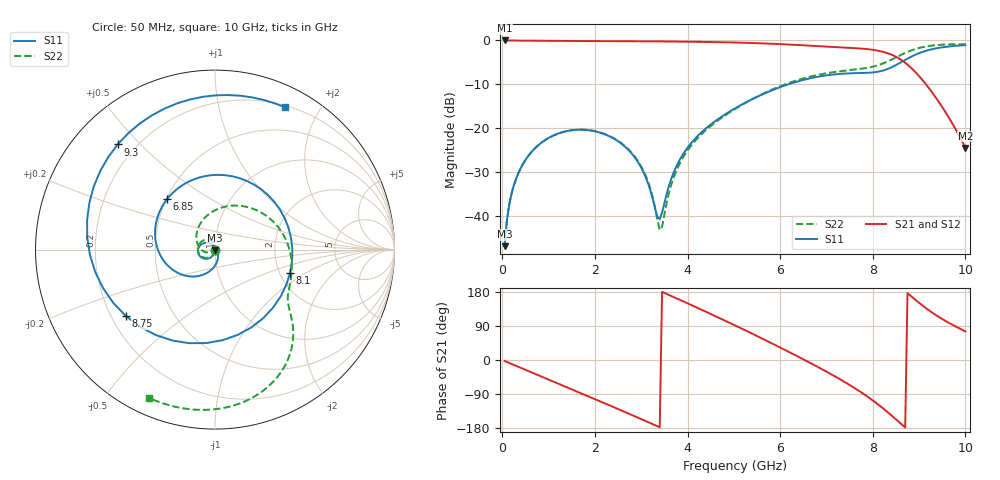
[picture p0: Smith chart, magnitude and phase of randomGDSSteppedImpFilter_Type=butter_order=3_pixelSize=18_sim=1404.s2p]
! freq	dB(S11)	phase(S11)	dB(S12)	phase(S12)
!  dB(S21)	phase(S21)	dB(S22)	phase(S22)
!S-par simulation data
#  GHz  S  DB  R 50
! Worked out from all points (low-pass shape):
!   200 points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, 50 MHz to 10 GHz, reference 50 ohm
!   highest |S21| = -0.01 dB at 50 MHz (marker M1); lowest = -24.6 dB at 10 GHz (marker M2)
!   |S21| within 3 dB of the highest: start of sweep to 8.344 GHz
!   lowest |S11| = -47.0 dB at 50 MHz (marker M3), VSWR 1.01, Z = 50 - j0.447 ohm
!   |S11| at or under -10 dB: start of sweep to 6.183 GHz
!   |S22| runs from -47.0 to -0.9 dB; largest |S21 - S12| = 0
!   S11 on the Smith chart (normalised r, x): 50 MHz: 1.00, -0.01; 6.85 GHz: 0.50, +0.33; 8.1 GHz: 2.28, -0.72; 8.75 GHz: 0.26, -0.31; 9.3 GHz: 0.13, +0.43; 10 GHz: 0.22, +1.58
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0.05  -46.99 -91.5  -0.01 -2.7  -0.01 -2.7  -47.00 -91.9
0.2  -35.00 -99.6  -0.03 -10.4  -0.03 -10.4  -35.00 -101.0
0.5  -27.30 -114.5  -0.04 -25.9  -0.04 -25.9  -27.32 -117.9
1.15  -21.50 -146.1  -0.10 -59.4  -0.10 -59.4  -21.51 -154.3
1.75  -20.40 -175.0  -0.14 -90.3  -0.14 -90.3  -20.39 171.9
2.85  -26.58 129.6  -0.19 -147.9  -0.19 -147.9  -26.39 109.7
3.15  -32.72 105.2  -0.20 -164.0  -0.20 -164.0  -32.31 98.0
3.4  -40.80 20.4  -0.22 -177.5  -0.22 -177.5  -43.29 144.3
3.65  -31.58 -52.0  -0.25 168.9  -0.25 168.9  -32.89 -149.4
3.95  -25.25 -73.8  -0.28 152.3  -0.28 152.3  -25.93 -161.9
5.05  -15.37 -120.9  -0.48 89.9  -0.48 89.9  -15.50 118.5
5.95  -10.87 -165.0  -0.82 36.0  -0.82 36.0  -10.68 55.1
6.7  -8.53 145.3  -1.23 -11.0  -1.23 -11.0  -8.14 11.2
6.85  -8.23 133.4  -1.32 -20.8  -1.32 -20.8  -7.80 3.7
7.55  -7.50 64.8  -1.72 -69.6  -1.72 -69.6  -6.74 -24.9
8.1  -7.17 -17.0  -2.32 -115.8  -2.32 -115.8  -5.71 -37.6
8.35  -6.40 -65.0  -3.03 -140.6  -3.03 -140.6  -4.66 -42.7
8.75  -4.16 -143.3  -5.53 176.6  -5.53 176.6  -2.63 -56.8
9  -2.91 174.5  -8.14 150.8  -8.14 150.8  -1.72 -69.0
9.3  -1.96 132.8  -12.15 123.7  -12.15 123.7  -1.15 -83.8
9.6  -1.43 99.3  -16.89 101.0  -16.89 101.0  -0.92 -97.5
10  -1.08 63.9  -24.59 75.6  -24.59 75.6  -0.88 -114.0
